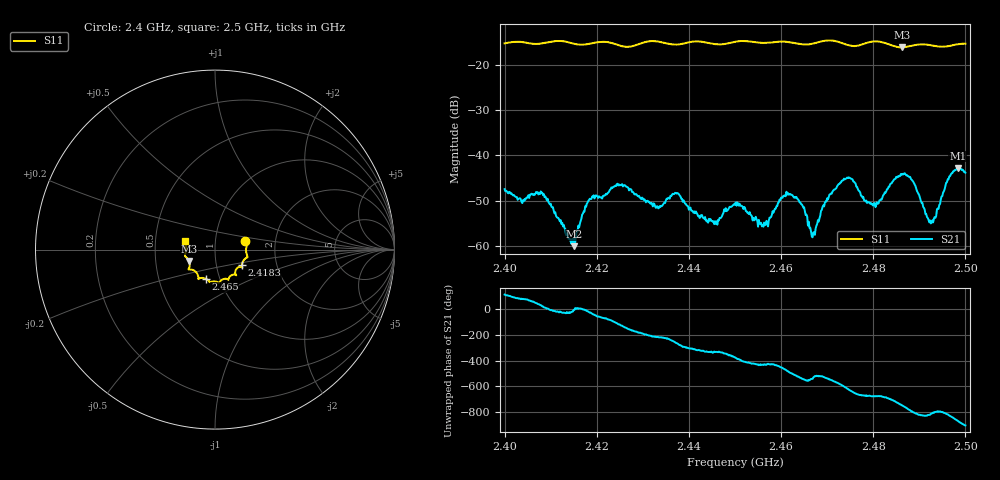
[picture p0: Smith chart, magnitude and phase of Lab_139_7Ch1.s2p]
# Hz S RI R 50
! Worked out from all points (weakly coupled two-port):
!   601 points, 2.4 GHz to 2.5 GHz, reference 50 ohm
!   highest |S21| = -42.77 dB at 2.4983 GHz (marker M1); lowest = -60.1 dB at 2.4152 GHz (marker M2)
!   lowest |S11| = -16.0 dB at 2.4862 GHz (marker M3), VSWR 1.38, Z = 37.1 - j4.81 ohm
!   |S11| at or under -10 dB: start of sweep to end of sweep
!   S12 and S22 are empty: the file has one direction only
!   S11 on the Smith chart (normalised r, x): 2.4 GHz: 1.40, +0.13; 2.4183 GHz: 1.33, -0.24; 2.465 GHz: 0.86, -0.29; 2.5 GHz: 0.71, +0.07
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2.4e9  0.169 0.0457  -0.00173 0.00387  0 0  0 0
2.408333e9  0.1751 -0.0197  0.00339 0.00129  0 0  0 0
2.415167e9  0.1644 -0.054  0.000983 -7.45e-05  0 0  0 0
2.416667e9  0.1549 -0.0684  0.00199 9.45e-05  0 0  0 0
2.418333e9  0.1499 -0.0868  0.003 -0.0012  0 0  0 0
2.425e9  0.1343 -0.0966  -0.00233 -0.00403  0 0  0 0
2.433333e9  0.1169 -0.1414  -0.00208 0.00154  0 0  0 0
2.437333e9  0.0869 -0.1461  -0.000403 0.00377  0 0  0 0
2.445667e9  0.0563 -0.1622  0.00166 0.000853  0 0  0 0
2.45e9  0.0251 -0.1808  0.00274 -0.000772  0 0  0 0
2.456167e9  -0.00256 -0.1771  0.000441 -0.00156  0 0  0 0
2.461e9  -0.0304 -0.1801  -0.00137 -0.00325  0 0  0 0
2.465e9  -0.0526 -0.1622  -0.00264 0.000364  0 0  0 0
2.466667e9  -0.0712 -0.1578  -0.00126 6.15e-05  0 0  0 0
2.473667e9  -0.094 -0.1455  -0.00257 0.00491  0 0  0 0
2.480167e9  -0.1474 -0.1104  0.00213 0.00201  0 0  0 0
2.483333e9  -0.142 -0.0961  0.00406 0.00194  0 0  0 0
2.486167e9  -0.1447 -0.0633  0.00543 -0.00282  0 0  0 0
2.4885e9  -0.16 -0.0433  0.00106 -0.00516  0 0  0 0
2.4925e9  -0.1655 -0.0238  -0.000168 -0.00176  0 0  0 0
2.498333e9  -0.1671 0.0382  -0.00626 -0.0037  0 0  0 0
2.5e9  -0.167 0.0472  -0.00642 0.000583  0 0  0 0
